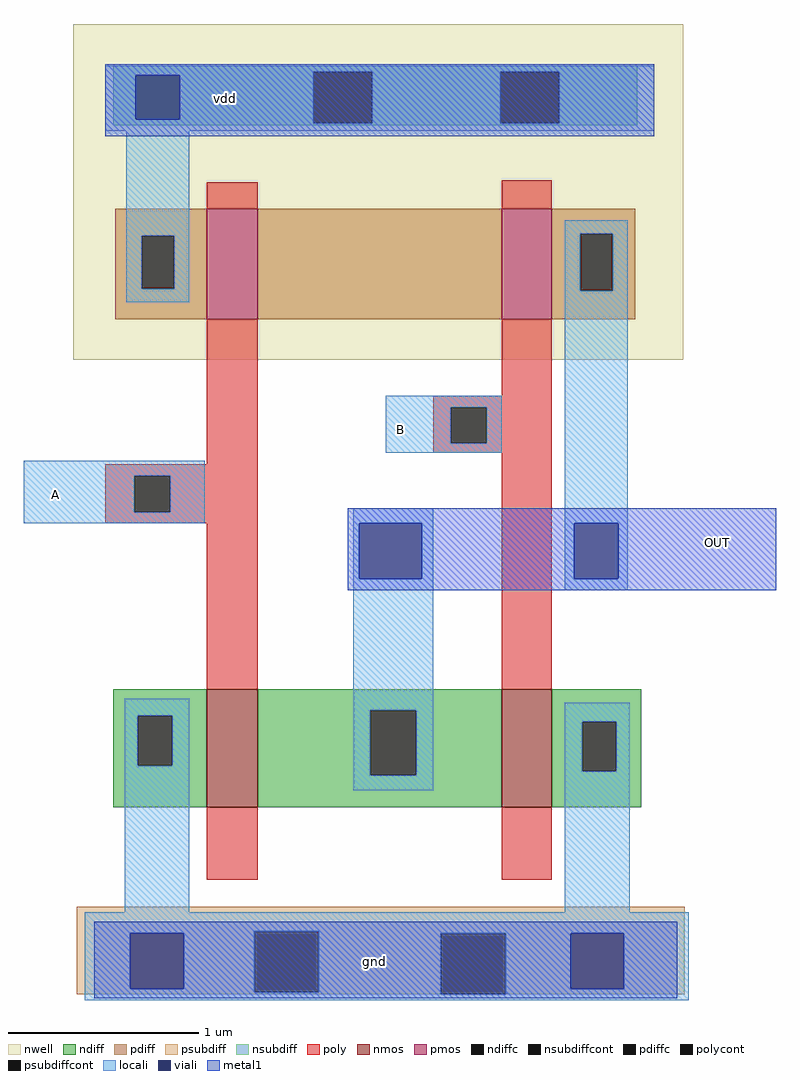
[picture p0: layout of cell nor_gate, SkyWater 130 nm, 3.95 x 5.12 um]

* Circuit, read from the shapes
.subckt nor_gate A B OUT gnd vdd
XM1 OUT A gnd gnd sky130_fd_pr__nfet_01v8 w=0.62 l=0.27
XM2 gnd B OUT gnd sky130_fd_pr__nfet_01v8 w=0.62 l=0.26
XM3 n1 A vdd vdd sky130_fd_pr__pfet_01v8 w=0.58 l=0.27
XM4 OUT B n1 vdd sky130_fd_pr__pfet_01v8 w=0.58 l=0.26
.ends

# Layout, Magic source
magic
tech sky130A
<< nwell >>
rect -98 -22 222 154
<< nmos >>
rect -28 -257 -1 -195
rect 127 -257 153 -195
<< pmos >>
rect -28 -1 -1 57
rect 127 -1 153 57
<< ndiff >>
rect -77 -209 -28 -195
rect -77 -235 -64 -209
rect -46 -235 -28 -209
rect -77 -257 -28 -235
rect -1 -206 127 -195
rect -1 -240 58 -206
rect 82 -240 127 -206
rect -1 -257 127 -240
rect 153 -212 200 -195
rect 153 -238 169 -212
rect 187 -238 200 -212
rect 153 -257 200 -238
<< pdiff >>
rect -76 43 -28 57
rect -76 15 -62 43
rect -45 15 -28 43
rect -76 -1 -28 15
rect -1 -1 127 57
rect 153 44 197 57
rect 153 14 168 44
rect 185 14 197 44
rect 153 -1 197 14
<< ndiffc >>
rect -64 -235 -46 -209
rect 58 -240 82 -206
rect 169 -238 187 -212
<< pdiffc >>
rect -62 15 -45 43
rect 168 14 185 44
<< psubdiff >>
rect -96 -322 223 -309
rect -96 -354 -3 -322
rect 31 -323 223 -322
rect 31 -354 95 -323
rect -96 -355 95 -354
rect 129 -355 223 -323
<< nsubdiff >>
rect -77 129 198 132
rect -77 102 28 129
rect 59 102 126 129
rect 157 102 198 129
rect -77 101 198 102
<< psubdiffcont >>
rect -3 -354 31 -322
rect 95 -355 129 -323
<< nsubdiffcont >>
rect 28 102 59 129
rect 126 102 157 129
<< poly >>
rect -28 57 -1 71
rect 127 57 153 72
rect -28 -77 -1 -1
rect 127 -41 153 -1
rect 91 -47 153 -41
rect 91 -66 100 -47
rect 119 -66 153 -47
rect 91 -71 153 -66
rect -81 -83 -1 -77
rect -81 -102 -66 -83
rect -47 -102 -1 -83
rect -81 -108 -1 -102
rect -28 -195 -1 -108
rect 127 -195 153 -71
rect -28 -295 -1 -257
rect 127 -295 153 -257
<< polycont >>
rect 100 -66 119 -47
rect -66 -102 -47 -83
<< locali >>
rect -81 129 207 132
rect -81 127 28 129
rect -81 104 -65 127
rect -42 104 28 127
rect -81 102 28 104
rect 59 102 126 129
rect 157 102 207 129
rect -81 98 207 102
rect -70 43 -37 98
rect -70 15 -62 43
rect -45 15 -37 43
rect -70 8 -37 15
rect 160 44 193 51
rect 160 14 168 44
rect 185 14 193 44
rect 66 -47 127 -41
rect 66 -66 100 -47
rect 119 -66 127 -47
rect 66 -71 127 -66
rect -124 -83 -29 -75
rect -124 -102 -66 -83
rect -47 -102 -29 -83
rect -124 -108 -29 -102
rect 49 -108 91 -100
rect 49 -137 52 -108
rect 85 -137 91 -108
rect -71 -209 -37 -200
rect -71 -235 -64 -209
rect -46 -235 -37 -209
rect -71 -312 -37 -235
rect 49 -206 91 -137
rect 160 -108 193 14
rect 160 -137 165 -108
rect 188 -137 193 -108
rect 160 -143 193 -137
rect 49 -240 58 -206
rect 82 -240 91 -206
rect 49 -248 91 -240
rect 160 -212 194 -202
rect 160 -238 169 -212
rect 187 -238 194 -212
rect 160 -312 194 -238
rect -92 -322 225 -312
rect -92 -323 -3 -322
rect -92 -352 -68 -323
rect -40 -352 -3 -323
rect -92 -354 -3 -352
rect 31 -323 225 -322
rect 31 -354 95 -323
rect -92 -355 95 -354
rect 129 -352 163 -323
rect 191 -352 225 -323
rect 129 -355 225 -352
rect -92 -358 225 -355
<< viali >>
rect -65 104 -42 127
rect 52 -137 85 -108
rect 165 -137 188 -108
rect -68 -352 -40 -323
rect 163 -352 191 -323
<< metal1 >>
rect -81 127 207 133
rect -81 104 -65 127
rect -42 104 207 127
rect -81 95 207 104
rect 46 -108 271 -100
rect 46 -137 52 -108
rect 85 -137 165 -108
rect 188 -137 271 -108
rect 46 -143 271 -137
rect -87 -323 219 -317
rect -87 -352 -68 -323
rect -40 -352 163 -323
rect 191 -352 219 -323
rect -87 -357 219 -352
<< labels >>
flabel locali -107 -93 -107 -93 0 FreeSans 160 0 0 0 A
flabel locali 73 -59 74 -58 0 FreeSans 160 0 0 0 B
flabel metal1 240 -118 240 -118 0 FreeSans 160 0 0 0 OUT
flabel metal1 60 -338 60 -338 0 FreeSans 80 0 0 0 gnd
flabel metal1 -18 115 -18 115 0 FreeSans 80 0 0 0 vdd
<< end >>
